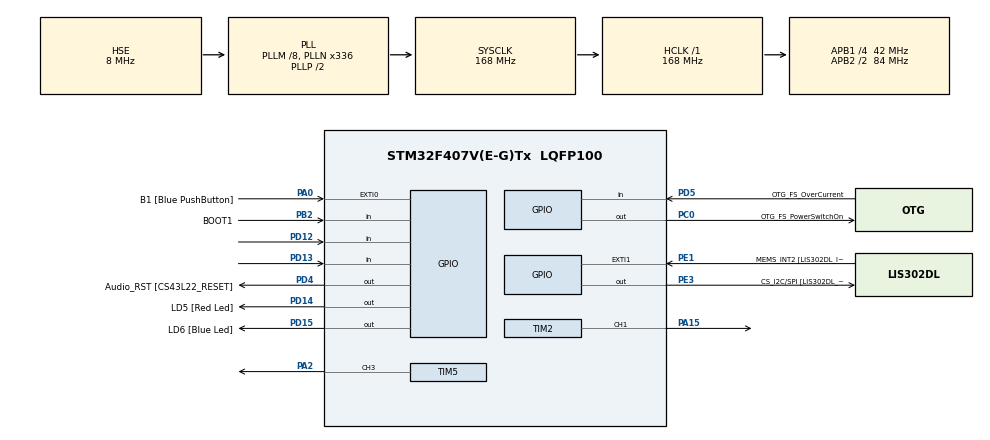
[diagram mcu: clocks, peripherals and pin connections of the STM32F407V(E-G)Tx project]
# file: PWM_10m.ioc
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Mcu.Family=STM32F4
Mcu.Name=STM32F407V(E-G)Tx
Mcu.Package=LQFP100
NVIC.PriorityGroup=NVIC_PRIORITYGROUP_0
PA0-WKUP.GPIO_Label=B1 [Blue PushButton]
PA0-WKUP.GPIO_ModeDefaultEXTI=GPIO_MODE_EVT_RISING
PA0-WKUP.GPIO_PuPd=GPIO_NOPULL
PA0-WKUP.Signal=GPXTI0
PA10.GPIO_Label=OTG_FS_ID
PA10.GPIO_Mode=GPIO_MODE_AF_PP
PA10.GPIO_PuPd=GPIO_NOPULL
PA10.GPIO_Speed=GPIO_SPEED_FREQ_LOW
PA10.Signal=USB_OTG_FS_ID
PA11.GPIO_Label=OTG_FS_DM
PA11.GPIO_Mode=GPIO_MODE_AF_PP
PA11.GPIO_PuPd=GPIO_NOPULL
PA11.GPIO_Speed=GPIO_SPEED_FREQ_LOW
PA11.Signal=USB_OTG_FS_DM
PA12.GPIO_Label=OTG_FS_DP
PA12.GPIO_Mode=GPIO_MODE_AF_PP
PA12.GPIO_PuPd=GPIO_NOPULL
PA12.GPIO_Speed=GPIO_SPEED_FREQ_LOW
PA12.Signal=USB_OTG_FS_DP
PA13.GPIO_Label=SWDIO
PA13.Mode=Serial_Wire
PA13.Signal=SYS_JTMS-SWDIO
PA14.GPIO_Label=SWCLK
PA14.Mode=Serial_Wire
PA14.Signal=SYS_JTCK-SWCLK
PA15.Signal=S_TIM2_CH1_ETR
PA2.Signal=S_TIM5_CH3
PA4.GPIO_Label=I2S3_WS [CS43L22_LRCK]
PA4.GPIO_Mode=GPIO_MODE_AF_PP
PA4.GPIO_PuPd=GPIO_NOPULL
PA4.GPIO_Speed=GPIO_SPEED_FREQ_LOW
PA4.Signal=I2S3_WS
PA5.GPIO_Label=SPI1_SCK [LIS302DL_SCL/SPC]
PA5.GPIO_Mode=GPIO_MODE_AF_PP
PA5.GPIO_PuPd=GPIO_NOPULL
PA5.GPIO_Speed=GPIO_SPEED_FREQ_LOW
PA5.Signal=SPI1_SCK
PA6.GPIO_Label=SPI1_MISO [LIS302DL_SDO]
PA6.GPIO_Mode=GPIO_MODE_AF_PP
PA6.GPIO_PuPd=GPIO_NOPULL
PA6.GPIO_Speed=GPIO_SPEED_FREQ_LOW
PA6.Signal=SPI1_MISO
PA7.GPIO_Label=SPI1_MOSI [LIS302DL_SDA/SDI/SDO]
PA7.GPIO_Mode=GPIO_MODE_AF_PP
PA7.GPIO_PuPd=GPIO_NOPULL
PA7.GPIO_Speed=GPIO_SPEED_FREQ_LOW
PA7.Signal=SPI1_MOSI
PA9.GPIO_Label=VBUS_FS
PA9.GPIO_Mode=GPIO_MODE_INPUT
PA9.GPIO_PuPd=GPIO_NOPULL
PA9.Signal=USB_OTG_FS_VBUS
PB10.GPIO_Label=CLK_IN [MP45DT02_CLK]
PB10.GPIO_Mode=GPIO_MODE_AF_PP
PB10.GPIO_PuPd=GPIO_NOPULL
PB10.GPIO_Speed=GPIO_SPEED_FREQ_LOW
PB10.Signal=I2S2_CK
PB2.GPIO_Label=BOOT1
PB2.GPIO_Mode=GPIO_MODE_INPUT
PB2.GPIO_PuPd=GPIO_NOPULL
PB2.Signal=GPIO_Input
PB3.GPIO_Label=SWO
PB3.Signal=SYS_JTDO-SWO
PB6.GPIO_Label=Audio_SCL [CS43L22_SCL]
PB6.GPIO_Mode=GPIO_MODE_AF_OD
PB6.GPIO_PuPd=GPIO_NOPULL
PB6.GPIO_Speed=GPIO_SPEED_FREQ_LOW
PB6.Signal=I2C1_SCL
PB9.GPIO_Label=Audio_SDA [CS43L22_SDA]
PB9.GPIO_Mode=GPIO_MODE_AF_OD
PB9.GPIO_PuPd=GPIO_NOPULL
PB9.GPIO_Speed=GPIO_SPEED_FREQ_LOW
PB9.Signal=I2C1_SDA
PC0.GPIO_Label=OTG_FS_PowerSwitchOn
PC0.GPIO_PuPd=GPIO_NOPULL
PC0.GPIO_Speed=GPIO_SPEED_FREQ_LOW
PC0.PinState=GPIO_PIN_SET
PC0.Signal=GPIO_Output
PC10.GPIO_Label=I2S3_SCK [CS43L22_SCLK]
PC10.GPIO_Mode=GPIO_MODE_AF_PP
PC10.GPIO_PuPd=GPIO_NOPULL
PC10.GPIO_Speed=GPIO_SPEED_FREQ_LOW
PC10.Signal=I2S3_CK
PC12.GPIO_Label=I2S3_SD [CS43L22_SDIN]
PC12.GPIO_Mode=GPIO_MODE_AF_PP
PC12.GPIO_PuPd=GPIO_NOPULL
PC12.GPIO_Speed=GPIO_SPEED_FREQ_LOW
PC12.Signal=I2S3_SD
PC14-OSC32_IN.GPIO_Label=PC14-OSC32_IN
PC14-OSC32_IN.Mode=LSE-External-Oscillator
PC14-OSC32_IN.Signal=RCC_OSC32_IN
PC15-OSC32_OUT.GPIO_Label=PC15-OSC32_OUT
PC15-OSC32_OUT.Mode=LSE-External-Oscillator
PC15-OSC32_OUT.Signal=RCC_OSC32_OUT
PC3.GPIO_Label=PDM_OUT [MP45DT02_DOUT]
PC3.GPIO_Mode=GPIO_MODE_AF_PP
PC3.GPIO_PuPd=GPIO_NOPULL
PC3.GPIO_Speed=GPIO_SPEED_FREQ_LOW
PC3.Signal=I2S2_SD
PC7.GPIO_Label=I2S3_MCK [CS43L22_MCLK]
PC7.GPIO_Mode=GPIO_MODE_AF_PP
PC7.GPIO_PuPd=GPIO_NOPULL
PC7.GPIO_Speed=GPIO_SPEED_FREQ_LOW
PC7.Signal=I2S3_MCK
PD12.Signal=GPIO_Input
PD13.Signal=GPIO_Input
PD14.GPIO_Label=LD5 [Red Led]
PD14.GPIO_PuPd=GPIO_NOPULL
PD14.GPIO_Speed=GPIO_SPEED_FREQ_LOW
PD14.Signal=GPIO_Output
PD15.GPIO_Label=LD6 [Blue Led]
PD15.GPIO_PuPd=GPIO_NOPULL
PD15.GPIO_Speed=GPIO_SPEED_FREQ_LOW
PD15.Signal=GPIO_Output
PD4.GPIO_Label=Audio_RST [CS43L22_RESET]
PD4.GPIO_PuPd=GPIO_NOPULL
PD4.GPIO_Speed=GPIO_SPEED_FREQ_LOW
PD4.Signal=GPIO_Output
PD5.GPIO_Label=OTG_FS_OverCurrent
PD5.GPIO_Mode=GPIO_MODE_INPUT
PD5.GPIO_PuPd=GPIO_NOPULL
PD5.Signal=GPIO_Input
PE1.GPIO_Label=MEMS_INT2 [LIS302DL_INT2]
PE1.GPIO_ModeDefaultEXTI=GPIO_MODE_EVT_RISING
PE1.GPIO_PuPd=GPIO_NOPULL
PE1.Signal=GPXTI1
PE3.GPIO_Label=CS_I2C/SPI [LIS302DL_CS_I2C/SPI]
PE3.GPIO_PuPd=GPIO_NOPULL
PE3.GPIO_Speed=GPIO_SPEED_FREQ_LOW
PE3.Signal=GPIO_Output
PH0-OSC_IN.GPIO_Label=PH0-OSC_IN
PH0-OSC_IN.Mode=HSE-External-Oscillator
PH0-OSC_IN.Signal=RCC_OSC_IN
PH1-OSC_OUT.GPIO_Label=PH1-OSC_OUT
PH1-OSC_OUT.Mode=HSE-External-Oscillator
PH1-OSC_OUT.Signal=RCC_OSC_OUT
ProjectManager.HeapSize=0x200
ProjectManager.StackSize=0x400
ProjectManager.TargetToolchain=MDK-ARM V5
RCC.48MHZClocksFreq_Value=48000000
RCC.AHBFreq_Value=168000000
RCC.APB1CLKDivider=RCC_HCLK_DIV4
RCC.APB1Freq_Value=42000000
RCC.APB1TimFreq_Value=84000000
RCC.APB2CLKDivider=RCC_HCLK_DIV2
RCC.APB2Freq_Value=84000000
RCC.APB2TimFreq_Value=168000000
RCC.CortexFreq_Value=168000000
RCC.HCLKFreq_Value=168000000
RCC.HSE_VALUE=8000000
RCC.HSI_VALUE=16000000
RCC.PLLM=8
RCC.PLLN=336
RCC.PLLQ=7
RCC.PLLSourceVirtual=RCC_PLLSOURCE_HSE
RCC.SYSCLKFreq_VALUE=168000000
RCC.SYSCLKSource=RCC_SYSCLKSOURCE_PLLCLK
RCC.VCOOutputFreq_Value=336000000
SH.S_TIM2_CH1_ETR.0=TIM2_CH1,PWM Generation1 CH1
SH.S_TIM5_CH3.0=TIM5_CH3,PWM Generation3 CH3
TIM2.Channel-PWM\ Generation1\ CH1=TIM_CHANNEL_1
TIM2.CounterMode=TIM_COUNTERMODE_DOWN
TIM2.OCPolarity_1=TIM_OCPOLARITY_HIGH
TIM2.Period=0x001E8480
TIM2.Prescaler=83
TIM2.Pulse-PWM\ Generation1\ CH1=0x0007A120
TIM2.TIM_MasterOutputTrigger=TIM_TRGO_UPDATE
TIM2.TIM_MasterSlaveMode=TIM_MASTERSLAVEMODE_DISABLE
TIM5.Channel-PWM\ Generation3\ CH3=TIM_CHANNEL_3
TIM5.CounterMode=TIM_COUNTERMODE_DOWN
TIM5.OCMode_PWM-PWM\ Generation3\ CH3=TIM_OCMODE_PWM1
TIM5.Period=0x0007A120
TIM5.Prescaler=83
TIM5.Pulse-PWM\ Generation3\ CH3=0x0003D090
VP_TIM2_VS_ClockSourceINT.Mode=Internal
VP_TIM5_VS_ClockSourceINT.Mode=Internal
VP_TIM5_VS_ClockSourceITR.Mode=TriggerSource_ITR0
VP_TIM5_VS_ControllerModeTrigger.Mode=Trigger Mode
VP_TIM5_VS_OPM.Mode=OPM_bit
board=STM32F4DISCOVERY

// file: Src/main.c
/**
  ******************************************************************************
  * @file           : main.c
  * @brief          : Main program body
  ******************************************************************************
  ** This notice applies to any and all portions of this file
  * that are not between comment pairs USER CODE BEGIN and
  * USER CODE END. Other portions of this file, whether
  * inserted by the user or by software development tools
  * are owned by their respective copyright owners.
  *
  * COPYRIGHT(c) 2018 STMicroelectronics
  *
  * Redistribution and use in source and binary forms, with or without modification,
  * are permitted provided that the following conditions are met:
  *   1. Redistributions of source code must retain the above copyright notice,
  *      this list of conditions and the following disclaimer.
  *   2. Redistributions in binary form must reproduce the above copyright notice,
  *      this list of conditions and the following disclaimer in the documentation
  *      and/or other materials provided with the distribution.
  *   3. Neither the name of STMicroelectronics nor the names of its contributors
  *      may be used to endorse or promote products derived from this software
  *      without specific prior written permission.
  *
  * THIS SOFTWARE IS PROVIDED BY THE COPYRIGHT HOLDERS AND CONTRIBUTORS "AS IS"
  * AND ANY EXPRESS OR IMPLIED WARRANTIES, INCLUDING, BUT NOT LIMITED TO, THE
  * IMPLIED WARRANTIES OF MERCHANTABILITY AND FITNESS FOR A PARTICULAR PURPOSE ARE
  * DISCLAIMED. IN NO EVENT SHALL THE COPYRIGHT HOLDER OR CONTRIBUTORS BE LIABLE
  * FOR ANY DIRECT, INDIRECT, INCIDENTAL, SPECIAL, EXEMPLARY, OR CONSEQUENTIAL
  * DAMAGES (INCLUDING, BUT NOT LIMITED TO, PROCUREMENT OF SUBSTITUTE GOODS OR
  * SERVICES; LOSS OF USE, DATA, OR PROFITS; OR BUSINESS INTERRUPTION) HOWEVER
  * CAUSED AND ON ANY THEORY OF LIABILITY, WHETHER IN CONTRACT, STRICT LIABILITY,
  * OR TORT (INCLUDING NEGLIGENCE OR OTHERWISE) ARISING IN ANY WAY OUT OF THE USE
  * OF THIS SOFTWARE, EVEN IF ADVISED OF THE POSSIBILITY OF SUCH DAMAGE.
  *
  ******************************************************************************
  */
#include "main.h"
#include "stm32f4xx_hal.h"

TIM_HandleTypeDef htim2;
TIM_HandleTypeDef htim5;

/* USER CODE BEGIN PV */
//Tm = [1ms-10min]
#define TM_MAX 0x23C34600
#define TM_MIN 0x3E8
//Pm = []
#define PM_MAX
#define PM_MIN
//Ts = []
#define TS_MAX
#define TS_MIN
//Dt = []
#define TS_MAX
#define TS_MIN

//-----STUPID LIBRARY KEEPS ON WIPING LD4 DEFINITION!!!
//-------------------ARRRGH. Patching here:
#define LD4_Pin GPIO_PIN_12
#define LD4_GPIO_Port GPIOD
/* Private variables ---------------------------------------------------------*/
uint32_t Tm,Ts,Pm,Dt,Ps;
/* USER CODE END PV */

void SystemClock_Config(void);
static void MX_GPIO_Init(void);
static void MX_TIM2_Init(void);
static void MX_TIM5_Init(void);
void HAL_TIM_MspPostInit(TIM_HandleTypeDef *htim);

/* USER CODE BEGIN PFP */
/* Private function prototypes -----------------------------------------------*/

/* USER CODE END PFP */

/* USER CODE BEGIN 0 */
uint8_t SetPulse(uint32_t Tm, uint32_t Pm, uint32_t Ps, uint32_t Dt){
    HAL_TIM_PWM_Stop(&htim2, TIM_CHANNEL_1);
    HAL_TIM_PWM_Stop(&htim5, TIM_CHANNEL_3);

    Dt += 1;
    Ts=Tm-Pm-Dt;
    Tm -= 1;
    Pm -= 1;
    Ps -= 1;

    /* if something is wrong with data then return 1; */

    /* Writing registers */
    TIM2->ARR = Tm;
    TIM2->CCR1 = Pm;

    TIM5->ARR = Ts;
    TIM5->CCR3 = Ps;
    /* Start timers */

    HAL_TIM_PWM_Start(&htim2, TIM_CHANNEL_1);
    HAL_TIM_PWM_Start(&htim5, TIM_CHANNEL_3);
    return 0;
}
/* USER CODE END 0 */

int main(void)
{
  /* USER CODE BEGIN 1 */

    /* END Correction mtf */

  /* USER CODE END 1 */

  /* MCU Configuration----------------------------------------------------------*/

  /* Reset of all peripherals, Initializes the Flash interface and the Systick. */
  HAL_Init();

  /* Configure the system clock */
  SystemClock_Config();

  /* Initialize all configured peripherals */
  MX_GPIO_Init();
  MX_TIM2_Init();
  MX_TIM5_Init();
  /* USER CODE BEGIN 2 */
  HAL_GPIO_WritePin(GPIOD,LD6_Pin,GPIO_PIN_SET);

  /* USER CODE END 2 */

  /* Infinite loop */
  /* USER CODE BEGIN WHILE */
  while (1)
  {
    //CODE HERE
  /* USER CODE END WHILE */

  /* USER CODE BEGIN 3 */
    HAL_GPIO_TogglePin(LD5_GPIO_Port, LD5_Pin);
    (void) SetPulse(4, 1, 1, 1);
    HAL_Delay(300);
    (void) SetPulse(3, 1, 1, 0);
    HAL_Delay(300);
  }
  /* USER CODE END 3 */

}

void SystemClock_Config(void)
{

  RCC_OscInitTypeDef RCC_OscInitStruct;
  RCC_ClkInitTypeDef RCC_ClkInitStruct;

    /**Configure the main internal regulator output voltage
    */
  __HAL_RCC_PWR_CLK_ENABLE();

  __HAL_PWR_VOLTAGESCALING_CONFIG(PWR_REGULATOR_VOLTAGE_SCALE1);

    /**Initializes the CPU, AHB and APB busses clocks
    */
  RCC_OscInitStruct.OscillatorType = RCC_OSCILLATORTYPE_HSE;
  RCC_OscInitStruct.HSEState = RCC_HSE_ON;
  RCC_OscInitStruct.PLL.PLLState = RCC_PLL_ON;
  RCC_OscInitStruct.PLL.PLLSource = RCC_PLLSOURCE_HSE;
  RCC_OscInitStruct.PLL.PLLM = 8;
  RCC_OscInitStruct.PLL.PLLN = 336;
  RCC_OscInitStruct.PLL.PLLP = RCC_PLLP_DIV2;
  RCC_OscInitStruct.PLL.PLLQ = 7;
  if (HAL_RCC_OscConfig(&RCC_OscInitStruct) != HAL_OK)
  {
    _Error_Handler(__FILE__, __LINE__);
  }

    /**Initializes the CPU, AHB and APB busses clocks
    */
  RCC_ClkInitStruct.ClockType = RCC_CLOCKTYPE_HCLK|RCC_CLOCKTYPE_SYSCLK
                              |RCC_CLOCKTYPE_PCLK1|RCC_CLOCKTYPE_PCLK2;
  RCC_ClkInitStruct.SYSCLKSource = RCC_SYSCLKSOURCE_PLLCLK;
  RCC_ClkInitStruct.AHBCLKDivider = RCC_SYSCLK_DIV1;
  RCC_ClkInitStruct.APB1CLKDivider = RCC_HCLK_DIV4;
  RCC_ClkInitStruct.APB2CLKDivider = RCC_HCLK_DIV2;

  if (HAL_RCC_ClockConfig(&RCC_ClkInitStruct, FLASH_LATENCY_5) != HAL_OK)
  {
    _Error_Handler(__FILE__, __LINE__);
  }

    /**Configure the Systick interrupt time
    */
  HAL_SYSTICK_Config(HAL_RCC_GetHCLKFreq()/1000);

    /**Configure the Systick
    */
  HAL_SYSTICK_CLKSourceConfig(SYSTICK_CLKSOURCE_HCLK);

  /* SysTick_IRQn interrupt configuration */
  HAL_NVIC_SetPriority(SysTick_IRQn, 0, 0);
}

/* TIM2 init function */
static void MX_TIM2_Init(void)
{

  TIM_ClockConfigTypeDef sClockSourceConfig;
  TIM_MasterConfigTypeDef sMasterConfig;
  TIM_OC_InitTypeDef sConfigOC;

  htim2.Instance = TIM2;
  htim2.Init.Prescaler = 83;
  htim2.Init.CounterMode = TIM_COUNTERMODE_DOWN;
  htim2.Init.Period = 0x001E8480;
  htim2.Init.ClockDivision = TIM_CLOCKDIVISION_DIV1;
  if (HAL_TIM_Base_Init(&htim2) != HAL_OK)
  {
    _Error_Handler(__FILE__, __LINE__);
  }

  sClockSourceConfig.ClockSource = TIM_CLOCKSOURCE_INTERNAL;
  if (HAL_TIM_ConfigClockSource(&htim2, &sClockSourceConfig) != HAL_OK)
  {
    _Error_Handler(__FILE__, __LINE__);
  }

  if (HAL_TIM_PWM_Init(&htim2) != HAL_OK)
  {
    _Error_Handler(__FILE__, __LINE__);
  }

  sMasterConfig.MasterOutputTrigger = TIM_TRGO_UPDATE;
  sMasterConfig.MasterSlaveMode = TIM_MASTERSLAVEMODE_DISABLE;
  if (HAL_TIMEx_MasterConfigSynchronization(&htim2, &sMasterConfig) != HAL_OK)
  {
    _Error_Handler(__FILE__, __LINE__);
  }

  sConfigOC.OCMode = TIM_OCMODE_PWM1;
  sConfigOC.Pulse = 0x0007A120;
  sConfigOC.OCPolarity = TIM_OCPOLARITY_HIGH;
  sConfigOC.OCFastMode = TIM_OCFAST_DISABLE;
  if (HAL_TIM_PWM_ConfigChannel(&htim2, &sConfigOC, TIM_CHANNEL_1) != HAL_OK)
  {
    _Error_Handler(__FILE__, __LINE__);
  }

  HAL_TIM_MspPostInit(&htim2);

}

/* TIM5 init function */
static void MX_TIM5_Init(void)
{

  TIM_ClockConfigTypeDef sClockSourceConfig;
  TIM_SlaveConfigTypeDef sSlaveConfig;
  TIM_MasterConfigTypeDef sMasterConfig;
  TIM_OC_InitTypeDef sConfigOC;

  htim5.Instance = TIM5;
  htim5.Init.Prescaler = 83;
  htim5.Init.CounterMode = TIM_COUNTERMODE_DOWN;
  htim5.Init.Period = 0x0007A120;
  htim5.Init.ClockDivision = TIM_CLOCKDIVISION_DIV1;
  if (HAL_TIM_Base_Init(&htim5) != HAL_OK)
  {
    _Error_Handler(__FILE__, __LINE__);
  }

  sClockSourceConfig.ClockSource = TIM_CLOCKSOURCE_INTERNAL;
  if (HAL_TIM_ConfigClockSource(&htim5, &sClockSourceConfig) != HAL_OK)
  {
    _Error_Handler(__FILE__, __LINE__);
  }

  if (HAL_TIM_PWM_Init(&htim5) != HAL_OK)
  {
    _Error_Handler(__FILE__, __LINE__);
  }

  if (HAL_TIM_OnePulse_Init(&htim5, TIM_OPMODE_SINGLE) != HAL_OK)
  {
    _Error_Handler(__FILE__, __LINE__);
  }

  sSlaveConfig.SlaveMode = TIM_SLAVEMODE_TRIGGER;
  sSlaveConfig.InputTrigger = TIM_TS_ITR0;
  if (HAL_TIM_SlaveConfigSynchronization(&htim5, &sSlaveConfig) != HAL_OK)
  {
    _Error_Handler(__FILE__, __LINE__);
  }

  sMasterConfig.MasterOutputTrigger = TIM_TRGO_RESET;
  sMasterConfig.MasterSlaveMode = TIM_MASTERSLAVEMODE_DISABLE;
  if (HAL_TIMEx_MasterConfigSynchronization(&htim5, &sMasterConfig) != HAL_OK)
  {
    _Error_Handler(__FILE__, __LINE__);
  }

  sConfigOC.OCMode = TIM_OCMODE_PWM1;
  sConfigOC.Pulse = 0x0003D090;
  sConfigOC.OCPolarity = TIM_OCPOLARITY_HIGH;
  sConfigOC.OCFastMode = TIM_OCFAST_DISABLE;
  if (HAL_TIM_PWM_ConfigChannel(&htim5, &sConfigOC, TIM_CHANNEL_3) != HAL_OK)
  {
    _Error_Handler(__FILE__, __LINE__);
  }

  HAL_TIM_MspPostInit(&htim5);

}

/** Configure pins as
        * Analog
        * Input
        * Output
        * EVENT_OUT
        * EXTI
     PC3   ------> I2S2_SD
     PA4   ------> I2S3_WS
     PA5   ------> SPI1_SCK
     PA6   ------> SPI1_MISO
     PA7   ------> SPI1_MOSI
     PB10   ------> I2S2_CK
     PC7   ------> I2S3_MCK
     PA9   ------> USB_OTG_FS_VBUS
     PA10   ------> USB_OTG_FS_ID
     PA11   ------> USB_OTG_FS_DM
     PA12   ------> USB_OTG_FS_DP
     PC10   ------> I2S3_CK
     PC12   ------> I2S3_SD
     PB6   ------> I2C1_SCL
     PB9   ------> I2C1_SDA
*/
static void MX_GPIO_Init(void)
{

  GPIO_InitTypeDef GPIO_InitStruct;

  /* GPIO Ports Clock Enable */
  __HAL_RCC_GPIOE_CLK_ENABLE();
  __HAL_RCC_GPIOC_CLK_ENABLE();
  __HAL_RCC_GPIOH_CLK_ENABLE();
  __HAL_RCC_GPIOA_CLK_ENABLE();
  __HAL_RCC_GPIOB_CLK_ENABLE();
  __HAL_RCC_GPIOD_CLK_ENABLE();

  /*Configure GPIO pin Output Level */
  HAL_GPIO_WritePin(CS_I2C_SPI_GPIO_Port, CS_I2C_SPI_Pin, GPIO_PIN_RESET);

  /*Configure GPIO pin Output Level */
  HAL_GPIO_WritePin(OTG_FS_PowerSwitchOn_GPIO_Port, OTG_FS_PowerSwitchOn_Pin, GPIO_PIN_SET);

  /*Configure GPIO pin Output Level */
  HAL_GPIO_WritePin(GPIOD, LD5_Pin|LD6_Pin|Audio_RST_Pin, GPIO_PIN_RESET);

  /*Configure GPIO pin : CS_I2C_SPI_Pin */
  GPIO_InitStruct.Pin = CS_I2C_SPI_Pin;
  GPIO_InitStruct.Mode = GPIO_MODE_OUTPUT_PP;
  GPIO_InitStruct.Pull = GPIO_NOPULL;
  GPIO_InitStruct.Speed = GPIO_SPEED_FREQ_LOW;
  HAL_GPIO_Init(CS_I2C_SPI_GPIO_Port, &GPIO_InitStruct);

  /*Configure GPIO pin : OTG_FS_PowerSwitchOn_Pin */
  GPIO_InitStruct.Pin = OTG_FS_PowerSwitchOn_Pin;
  GPIO_InitStruct.Mode = GPIO_MODE_OUTPUT_PP;
  GPIO_InitStruct.Pull = GPIO_NOPULL;
  GPIO_InitStruct.Speed = GPIO_SPEED_FREQ_LOW;
  HAL_GPIO_Init(OTG_FS_PowerSwitchOn_GPIO_Port, &GPIO_InitStruct);

  /*Configure GPIO pin : PDM_OUT_Pin */
  GPIO_InitStruct.Pin = PDM_OUT_Pin;
  GPIO_InitStruct.Mode = GPIO_MODE_AF_PP;
  GPIO_InitStruct.Pull = GPIO_NOPULL;
  GPIO_InitStruct.Speed = GPIO_SPEED_FREQ_LOW;
  GPIO_InitStruct.Alternate = GPIO_AF5_SPI2;
  HAL_GPIO_Init(PDM_OUT_GPIO_Port, &GPIO_InitStruct);

  /*Configure GPIO pin : B1_Pin */
  GPIO_InitStruct.Pin = B1_Pin;
  GPIO_InitStruct.Mode = GPIO_MODE_EVT_RISING;
  GPIO_InitStruct.Pull = GPIO_NOPULL;
  HAL_GPIO_Init(B1_GPIO_Port, &GPIO_InitStruct);

  /*Configure GPIO pin : I2S3_WS_Pin */
  GPIO_InitStruct.Pin = I2S3_WS_Pin;
  GPIO_InitStruct.Mode = GPIO_MODE_AF_PP;
  GPIO_InitStruct.Pull = GPIO_NOPULL;
  GPIO_InitStruct.Speed = GPIO_SPEED_FREQ_LOW;
  GPIO_InitStruct.Alternate = GPIO_AF6_SPI3;
  HAL_GPIO_Init(I2S3_WS_GPIO_Port, &GPIO_InitStruct);

  /*Configure GPIO pins : SPI1_SCK_Pin SPI1_MISO_Pin SPI1_MOSI_Pin */
  GPIO_InitStruct.Pin = SPI1_SCK_Pin|SPI1_MISO_Pin|SPI1_MOSI_Pin;
  GPIO_InitStruct.Mode = GPIO_MODE_AF_PP;
  GPIO_InitStruct.Pull = GPIO_NOPULL;
  GPIO_InitStruct.Speed = GPIO_SPEED_FREQ_LOW;
  GPIO_InitStruct.Alternate = GPIO_AF5_SPI1;
  HAL_GPIO_Init(GPIOA, &GPIO_InitStruct);

  /*Configure GPIO pin : BOOT1_Pin */
  GPIO_InitStruct.Pin = BOOT1_Pin;
  GPIO_InitStruct.Mode = GPIO_MODE_INPUT;
  GPIO_InitStruct.Pull = GPIO_NOPULL;
  HAL_GPIO_Init(BOOT1_GPIO_Port, &GPIO_InitStruct);

  /*Configure GPIO pin : CLK_IN_Pin */
  GPIO_InitStruct.Pin = CLK_IN_Pin;
  GPIO_InitStruct.Mode = GPIO_MODE_AF_PP;
  GPIO_InitStruct.Pull = GPIO_NOPULL;
  GPIO_InitStruct.Speed = GPIO_SPEED_FREQ_LOW;
  GPIO_InitStruct.Alternate = GPIO_AF5_SPI2;
  HAL_GPIO_Init(CLK_IN_GPIO_Port, &GPIO_InitStruct);

  /*Configure GPIO pins : PD12 PD13 OTG_FS_OverCurrent_Pin */
  GPIO_InitStruct.Pin = GPIO_PIN_12|GPIO_PIN_13|OTG_FS_OverCurrent_Pin;
  GPIO_InitStruct.Mode = GPIO_MODE_INPUT;
  GPIO_InitStruct.Pull = GPIO_NOPULL;
  HAL_GPIO_Init(GPIOD, &GPIO_InitStruct);

  /*Configure GPIO pins : LD5_Pin LD6_Pin Audio_RST_Pin */
  GPIO_InitStruct.Pin = LD5_Pin|LD6_Pin|Audio_RST_Pin;
  GPIO_InitStruct.Mode = GPIO_MODE_OUTPUT_PP;
  GPIO_InitStruct.Pull = GPIO_NOPULL;
  GPIO_InitStruct.Speed = GPIO_SPEED_FREQ_LOW;
  HAL_GPIO_Init(GPIOD, &GPIO_InitStruct);

  /*Configure GPIO pins : I2S3_MCK_Pin I2S3_SCK_Pin I2S3_SD_Pin */
  GPIO_InitStruct.Pin = I2S3_MCK_Pin|I2S3_SCK_Pin|I2S3_SD_Pin;
  GPIO_InitStruct.Mode = GPIO_MODE_AF_PP;
  GPIO_InitStruct.Pull = GPIO_NOPULL;
  GPIO_InitStruct.Speed = GPIO_SPEED_FREQ_LOW;
  GPIO_InitStruct.Alternate = GPIO_AF6_SPI3;
  HAL_GPIO_Init(GPIOC, &GPIO_InitStruct);

  /*Configure GPIO pin : VBUS_FS_Pin */
  GPIO_InitStruct.Pin = VBUS_FS_Pin;
  GPIO_InitStruct.Mode = GPIO_MODE_INPUT;
  GPIO_InitStruct.Pull = GPIO_NOPULL;
  HAL_GPIO_Init(VBUS_FS_GPIO_Port, &GPIO_InitStruct);

  /*Configure GPIO pins : OTG_FS_ID_Pin OTG_FS_DM_Pin OTG_FS_DP_Pin */
  GPIO_InitStruct.Pin = OTG_FS_ID_Pin|OTG_FS_DM_Pin|OTG_FS_DP_Pin;
  GPIO_InitStruct.Mode = GPIO_MODE_AF_PP;
  GPIO_InitStruct.Pull = GPIO_NOPULL;
  GPIO_InitStruct.Speed = GPIO_SPEED_FREQ_LOW;
  GPIO_InitStruct.Alternate = GPIO_AF10_OTG_FS;
  HAL_GPIO_Init(GPIOA, &GPIO_InitStruct);

  /*Configure GPIO pins : Audio_SCL_Pin Audio_SDA_Pin */
  GPIO_InitStruct.Pin = Audio_SCL_Pin|Audio_SDA_Pin;
  GPIO_InitStruct.Mode = GPIO_MODE_AF_OD;
  GPIO_InitStruct.Pull = GPIO_PULLUP;
  GPIO_InitStruct.Speed = GPIO_SPEED_FREQ_LOW;
  GPIO_InitStruct.Alternate = GPIO_AF4_I2C1;
  HAL_GPIO_Init(GPIOB, &GPIO_InitStruct);

  /*Configure GPIO pin : MEMS_INT2_Pin */
  GPIO_InitStruct.Pin = MEMS_INT2_Pin;
  GPIO_InitStruct.Mode = GPIO_MODE_EVT_RISING;
  GPIO_InitStruct.Pull = GPIO_NOPULL;
  HAL_GPIO_Init(MEMS_INT2_GPIO_Port, &GPIO_InitStruct);

}

void _Error_Handler(char *file, int line)
{
  while(1)
  {
  }
}

/************************ (C) COPYRIGHT STMicroelectronics *****END OF FILE****/
